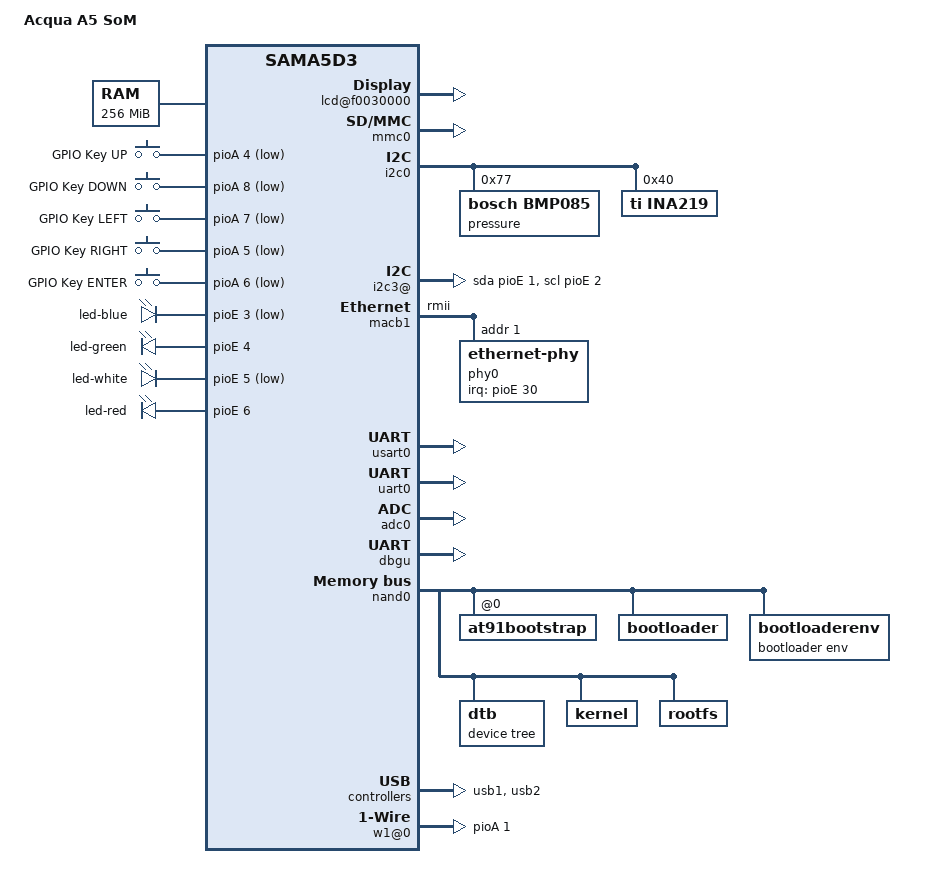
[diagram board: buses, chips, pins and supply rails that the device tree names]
/*
 * acme-acqua.dts - 
 * Device Tree for Acqua A5 SoM
 *
 *  Copyright (C) 2014 Acme Systems,
 *		  2014 Sergio Tanzilli <tanzilli@acmesystems.it>
 *
 * Licensed under GPLv2 or later.
 */
/dts-v1/;
#include "sama5d3.dtsi"
#include "sama5d3_lcd.dtsi"
#include "sama5d3_emac.dtsi"
#include "sama5d3_mci2.dtsi"
#include "sama5d3_uart.dtsi"

/ {
	model = "Acqua A5 SoM";
	compatible = "atmel,sama5d31ek", "atmel,sama5d3xmb", "atmel,sama5d3xcm", "atmel,sama5d31", "atmel,sama5d3", "atmel,sama5";

	chosen {
		bootargs = "console=ttyS0,115200 root=/dev/mmcblk0p2 rw rootwait";
	}; 

	memory {
		reg = <0x20000000 0x10000000>;
	};

	clocks {
		#address-cells = <1>;
		#size-cells = <1>;
		ranges;

		main_clock: clock@0 {
			compatible = "atmel,osc", "fixed-clock";
			clock-frequency = <12000000>;
		};
	};

	ahb {
		apb {
			lcd_bus@f0030000 {
				status = "okay";

				lcd@f0030000 {
					status = "okay";
				};

				lcdovl1@f0030140 {
					status = "okay";
				};

				lcdovl2@f0030240 {
					status = "okay";
				};

				lcdheo1@f0030340 {
					status = "okay";
				};
			};			

			mmc0: mmc@f0000000 {
				pinctrl-names = "default";
				pinctrl-0 = <&pinctrl_mmc0_clk_cmd_dat0 &pinctrl_mmc0_dat1_3 &pinctrl_mmc0_dat4_7 &pinctrl_mmc0_cd>;
				status = "okay";
				slot@0 {
					reg = <0>;
					bus-width = <4>;
				};
			};
			
			mmc1: mmc@f8000000 {
				pinctrl-names = "default";
				pinctrl-0 = <&pinctrl_mmc1_clk_cmd_dat0 &pinctrl_mmc1_dat1_3 &pinctrl_mmc1_cd>;
				status = "disabled";
				slot@0 {
					reg = <0>;
					bus-width = <4>;
				};
			};
					

			spi0: spi@f0004000 {
				cs-gpios = <&pioD 13 0>, <&pioD 14 0>, <0>, <0>;
				status = "disabled";
			};

			spi1: spi@f8008000 {
				cs-gpios = <&pioC 25 0>, <0>, <0>, <&pioD 16 0>;
				status = "disabled";
			};

			i2c0: i2c@f0014000 {
				status = "okay";
				pressure@77 {
					compatible = "bosch,bmp085";
					reg = <0x77>;
					chip-id = <85>;
					temp-measurement-period = <100>;
					default-oversampling = <2>;
				};
				ina219@40 {
					compatible = "ti,ina219";
					reg = <0x40>;
					/* Real value is 0.1 ohm 100000 microhm */
					shunt-resistor = <10000>; 
				};

			};

			i2c1: i2c@f0018000 {
				status = "disabled";
			};

			i2c2: i2c@f801c000 {
				status = "disabled";
				dmas = <0>, <0>;	/* Do not use DMA for i2c2 */
			};

			/* Bit banging I2C wired on the Atmel MAC chip */
			i2c3@ {
				compatible = "i2c-gpio";
				gpios = <&pioE 1 0 /* SDA */
						 &pioE 2 0 /* SCK */
						>;

				/*i2c-gpio,sda-open-drain;*/
				/*i2c-gpio,scl-open-drain;*/
				i2c-gpio,delay-us = <4>;	/* ~178 kHz */
				#address-cells = <1>;
				#size-cells = <0>;
			};
			
			
			gpio_keys {
					compatible = "gpio-keys";
					#address-cells = <1>;
					#size-cells = <0>;
					#autorepeat;
					button@21 {
						label = "GPIO Key UP";
						linux,code = <103>;
						gpios = <&pioA 4 GPIO_ACTIVE_LOW>;
					};
					button@22 {
						label = "GPIO Key DOWN";
						linux,code = <108>;
						gpios = <&pioA 8 GPIO_ACTIVE_LOW>;
					};
					button@23 {
						label = "GPIO Key LEFT";
						linux,code = <105>;
						gpios = <&pioA 7 GPIO_ACTIVE_LOW>;
					};
					button@24 {
						label = "GPIO Key RIGHT";
						linux,code = <106>;
						gpios = <&pioA 5 GPIO_ACTIVE_LOW>;
					};
					button@25 {
						label = "GPIO Key ENTER";
						linux,code = <28>;
						gpios = <&pioA 6 GPIO_ACTIVE_LOW>;
					};
			};

			/* Giga Ethernet */
			macb0: ethernet@f0028000 {
				phy-mode = "rgmii";
				status = "disabled";

			};


			/* 10/100 Ethernet */
			macb1: ethernet@f802c000 {
				phy-mode = "rmii";
				status = "okay";
				
				#address-cells = <1>;
				#size-cells = <0>;
				phy0: ethernet-phy@1 {
					interrupt-parent = <&pioE>;
					interrupts = <30 IRQ_TYPE_EDGE_FALLING>;
					reg = <1>;
				}; 
				
			};
			
			pwm0: pwm@f002c000 {
				pinctrl-names = "default";
				pinctrl-0 = <&pinctrl_pwm0_pwml0>;
				status = "disabled";
			};

			usart0: serial@f001c000 {
				status = "okay";
			};

			usart1: serial@f0020000 {
				pinctrl-names = "default";
				pinctrl-0 = <&pinctrl_usart1 &pinctrl_usart1_rts_cts>;
				status = "disabled";
			};

			uart0: serial@f0024000 {
				status = "okay";
			};
			
			can0: can@f000c000 {
				status = "disabled";
			};
			
			can1: can@f8010000 {
				status = "disabled";
			};

			adc0: adc@f8018000 {
				status = "okay";
				pinctrl-names = "default";
				pinctrl-0 = <
					&pinctrl_adc0_adtrg
					&pinctrl_adc0_ad0
					&pinctrl_adc0_ad1
					&pinctrl_adc0_ad2
					&pinctrl_adc0_ad3
					&pinctrl_adc0_ad4
					&pinctrl_adc0_ad5
					&pinctrl_adc0_ad6
					&pinctrl_adc0_ad7
					&pinctrl_adc0_ad8
					&pinctrl_adc0_ad9
					>;
			};


			pinctrl@fffff200 {
				board {
					pinctrl_mmc0_cd: mmc0_cd {
						atmel,pins =
							<AT91_PIOE 0 AT91_PERIPH_GPIO AT91_PINCTRL_PULL_UP_DEGLITCH>;
					};

					pinctrl_mmc1_cd: mmc1_cd {
						atmel,pins =
							<AT91_PIOE 1 AT91_PERIPH_GPIO AT91_PINCTRL_PULL_UP_DEGLITCH>;
					};

					pinctrl_pwm0_pwml0: pwm0_pwml0 {
						atmel,pins =
							<AT91_PIOA 21 AT91_PERIPH_B AT91_PINCTRL_NONE>;
					};

					pinctrl_usba_vbus: usba_vbus {
						atmel,pins =
							<AT91_PIOE 9 AT91_PERIPH_GPIO AT91_PINCTRL_DEGLITCH>;	/* PE9, conflicts with A9 */
					};
					pinctrl_w1_0: w1_0-0 {
						/* pull up on */
						atmel,pins = <AT91_PIOA 1 AT91_PERIPH_GPIO AT91_PINCTRL_PULL_UP>;
					};
				};
			};

			dbgu: serial@ffffee00 {
				status = "okay";
			};
		};

		nand0: nand@60000000 {
			nand-bus-width = <8>;
			nand-ecc-mode = "hw";
			atmel,has-pmecc;
			atmel,pmecc-cap = <4>;
			atmel,pmecc-sector-size = <512>;
			nand-on-flash-bbt;
			status = "okay";

			at91bootstrap@0 {
				label = "at91bootstrap";
				reg = <0x0 0x40000>;
			};

			bootloader@40000 {
				label = "bootloader";
				reg = <0x40000 0x80000>;
			};

			bootloaderenv@c0000 {
				label = "bootloader env";
				reg = <0xc0000 0xc0000>;
			};

			dtb@180000 {
				label = "device tree";
				reg = <0x180000 0x80000>;
			};

			kernel@200000 {
				label = "kernel";
				reg = <0x200000 0x600000>;
			};

			rootfs@800000 {
				label = "rootfs";
				reg = <0x800000 0x0f800000>;
			};
		};

		usb0: gadget@00500000 {
			atmel,vbus-gpio = <&pioE 9 GPIO_ACTIVE_HIGH>;	/* PE9, conflicts with A9 */
			pinctrl-names = "default";
			pinctrl-0 = <&pinctrl_usba_vbus>;
			status = "disabled";
		}; 

		usb1: ohci@00600000 {
			num-ports = <3>;
			status = "okay";
		};

		usb2: ehci@00700000 {
			status = "okay";
		};
	};
	leds {
		compatible = "gpio-leds";

		led-blue {
			label = "led-blue";
			gpios = <&pioE 3 GPIO_ACTIVE_LOW>;
			linux,default-trigger = "heartbeat";
		};

		led-green {
			label = "led-green";
			gpios = <&pioE 4 GPIO_ACTIVE_HIGH>;
			linux,default-trigger = "heartbeat";
		};

		led-white {
			label = "led-white";
			gpios = <&pioE 5 GPIO_ACTIVE_LOW>;
			linux,default-trigger = "heartbeat";
		};

		led-red {
			label = "led-red";
			gpios = <&pioE 6 GPIO_ACTIVE_HIGH>;
			linux,default-trigger = "heartbeat";
		};

	};
	w1@0 {
		compatible = "w1-gpio";
		gpios = <&pioA 1 GPIO_ACTIVE_LOW>;
		pinctrl-names = "default";
		pinctrl-0 = <&pinctrl_w1_0>;
		status = "okay";
	};
	sound {
		status = "disabled";
	};
};
